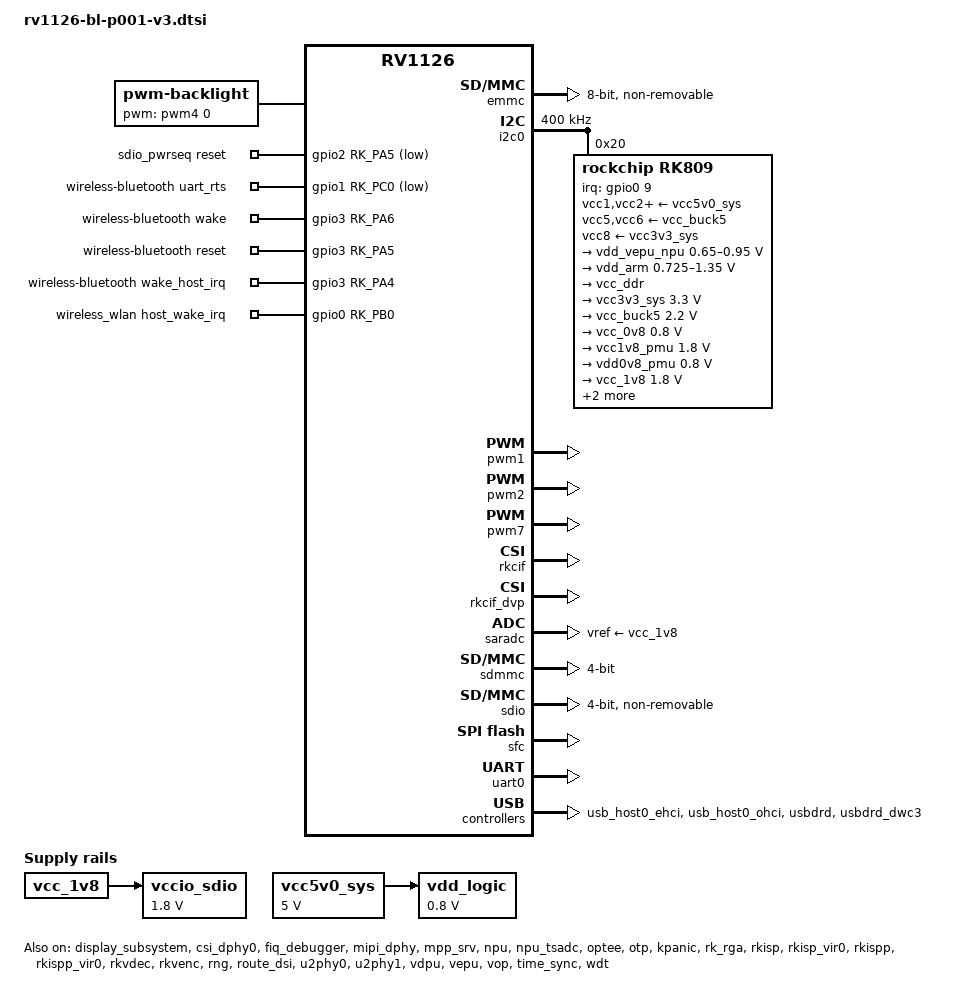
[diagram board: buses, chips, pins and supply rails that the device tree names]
// SPDX-License-Identifier: (GPL-2.0+ OR MIT)
/*
 * Copyright (c) 2019 Fuzhou Rockchip Electronics Co., Ltd.
 */

#include <dt-bindings/display/drm_mipi_dsi.h>
#include <dt-bindings/input/input.h>

/ {
	backlight: backlight {
		compatible = "pwm-backlight";
		pwms = <&pwm4 0 25000 0>;
		brightness-levels = <
			  0   1   2   3   4   5   6   7
			  8   9  10  11  12  13  14  15
			 16  17  18  19  20  21  22  23
			 24  25  26  27  28  29  30  31
			 32  33  34  35  36  37  38  39
			 40  41  42  43  44  45  46  47
			 48  49  50  51  52  53  54  55
			 56  57  58  59  60  61  62  63
			 64  65  66  67  68  69  70  71
			 72  73  74  75  76  77  78  79
			 80  81  82  83  84  85  86  87
			 88  89  90  91  92  93  94  95
			 96  97  98  99 100 101 102 103
			104 105 106 107 108 109 110 111
			112 113 114 115 116 117 118 119
			120 121 122 123 124 125 126 127
			128 129 130 131 132 133 134 135
			136 137 138 139 140 141 142 143
			144 145 146 147 148 149 150 151
			152 153 154 155 156 157 158 159
			160 161 162 163 164 165 166 167
			168 169 170 171 172 173 174 175
			176 177 178 179 180 181 182 183
			184 185 186 187 188 189 190 191
			192 193 194 195 196 197 198 199
			200 201 202 203 204 205 206 207
			208 209 210 211 212 213 214 215
			216 217 218 219 220 221 222 223
			224 225 226 227 228 229 230 231
			232 233 234 235 236 237 238 239
			240 241 242 243 244 245 246 247
			248 249 250 251 252 253 254 255>;
		default-brightness-level = <200>;
	};

	dummy_codec: dummy-codec {
		compatible = "rockchip,dummy-codec";
		#sound-dai-cells = <0>;
	};

	sdio_pwrseq: sdio-pwrseq {
		compatible = "mmc-pwrseq-simple";
		pinctrl-names = "default";
		pinctrl-0 = <&wifi_enable_h>;

		reset-gpios = <&gpio2 RK_PA5 GPIO_ACTIVE_LOW>;
	};

	vcc5v0_sys: vccsys {
		compatible = "regulator-fixed";
		regulator-name = "vcc5v0_sys";
		regulator-always-on;
		regulator-boot-on;
		regulator-min-microvolt = <5000000>;
		regulator-max-microvolt = <5000000>;
	};

	vccio_sdio: vcc-1v8 {
		compatible = "regulator-fixed";
		regulator-name = "vccio_sdio";
		regulator-always-on;
		regulator-boot-on;
		regulator-min-microvolt = <1800000>;
		regulator-max-microvolt = <1800000>;
		vin-supply = <&vcc_1v8>;
	};

	vdd_logic: vdd_logic {
		compatible = "regulator-fixed";
		regulator-name = "vdd_logic";
		regulator-always-on;
		regulator-boot-on;
		regulator-min-microvolt = <800000>;
		regulator-max-microvolt = <800000>;
		vin-supply = <&vcc5v0_sys>;
	};

	wireless-bluetooth {
		compatible = "bluetooth-platdata";
		uart_rts_gpios = <&gpio1 RK_PC0 GPIO_ACTIVE_LOW>;
		pinctrl-names = "default", "rts_gpio";
		pinctrl-0 = <&uart0_rtsn>;
		pinctrl-1 = <&uart0_rtsn_gpio>;
		BT,wake_gpio    = <&gpio3 RK_PA6 GPIO_ACTIVE_HIGH>;
		BT,reset_gpio    = <&gpio3 RK_PA5 GPIO_ACTIVE_HIGH>;
		BT,wake_host_irq = <&gpio3 RK_PA4 GPIO_ACTIVE_HIGH>;
		status = "okay";
	};

	wireless_wlan: wireless-wlan {
		compatible = "wlan-platdata";
		rockchip,grf = <&grf>;
		pinctrl-names = "default";
		pinctrl-0 = <&wifi_wake_host>;
		wifi_chip_type = "ap6212a";
		WIFI,host_wake_irq = <&gpio0 RK_PB0 GPIO_ACTIVE_HIGH>;
		clocks = <&rk809 1>;
		clock-names = "clk_wifi";
		status = "okay";
	};
};

&cpu0 {
    cpu-supply = <&vdd_arm>;
};

&cpu_tsadc {
	status = "okay";
};

&display_subsystem {
	status = "okay";
};

&csi_dphy0 {
	status = "okay";

	ports {
		#address-cells = <1>;
		#size-cells = <0>;
		port@0 {
			reg = <0>;
			#address-cells = <1>;
			#size-cells = <0>;

			mipi_in_ucam0: endpoint@1 {
				reg = <1>;
				remote-endpoint = <&ucam_out0>;
				data-lanes = <1 2>;
			};
		};
		port@1 {
			reg = <1>;
			#address-cells = <1>;
			#size-cells = <0>;

			csidphy0_out: endpoint@0 {
				reg = <0>;
				remote-endpoint = <&isp_in>;
			};
		};
	};
};

&emmc {
	bus-width = <8>;
	cap-mmc-highspeed;
	non-removable;
	mmc-hs200-1_8v;
	rockchip,default-sample-phase = <90>;
	supports-emmc;
	/delete-property/ pinctrl-names;
	/delete-property/ pinctrl-0;
	status = "okay";
};

&fiq_debugger {
	status = "okay";
};

&i2c0 {
	status = "okay";
	clock-frequency = <400000>;

	rk809: pmic@20 {
		compatible = "rockchip,rk809";
		reg = <0x20>;
		interrupt-parent = <&gpio0>;
		interrupts = <9 IRQ_TYPE_LEVEL_LOW>;
		pinctrl-names = "default", "pmic-sleep",
			"pmic-power-off", "pmic-reset";
		pinctrl-0 = <&pmic_int>;
		pinctrl-1 = <&soc_slppin_gpio>, <&rk817_slppin_slp>;
		pinctrl-2 = <&soc_slppin_gpio>, <&rk817_slppin_pwrdn>;
		pinctrl-3 = <&soc_slppin_slp>, <&rk817_slppin_rst>;
		rockchip,system-power-controller;
		wakeup-source;
		#clock-cells = <1>;
		clock-output-names = "rk808-clkout1", "rk808-clkout2";
		/* 0: rst the pmic, 1: rst regs (default in codes) */
		pmic-reset-func = <0>;

		vcc1-supply = <&vcc5v0_sys>;
		vcc2-supply = <&vcc5v0_sys>;
		vcc3-supply = <&vcc5v0_sys>;
		vcc4-supply = <&vcc5v0_sys>;
		vcc5-supply = <&vcc_buck5>;
		vcc6-supply = <&vcc_buck5>;
		vcc7-supply = <&vcc5v0_sys>;
		vcc8-supply = <&vcc3v3_sys>;
		vcc9-supply = <&vcc5v0_sys>;

		pinctrl_rk8xx: pinctrl_rk8xx {
			gpio-controller;
			#gpio-cells = <2>;

			/omit-if-no-ref/
			rk817_slppin_null: rk817_slppin_null {
				pins = "gpio_slp";
				function = "pin_fun0";
			};

			/omit-if-no-ref/
			rk817_slppin_slp: rk817_slppin_slp {
				pins = "gpio_slp";
				function = "pin_fun1";
			};

			/omit-if-no-ref/
			rk817_slppin_pwrdn: rk817_slppin_pwrdn {
				pins = "gpio_slp";
				function = "pin_fun2";
			};

			/omit-if-no-ref/
			rk817_slppin_rst: rk817_slppin_rst {
				pins = "gpio_slp";
				function = "pin_fun3";
			};
		};

		regulators {
			vdd_vepu_npu: DCDC_REG1 {
				regulator-always-on;
				regulator-boot-on;
				regulator-min-microvolt = <650000>;
				regulator-max-microvolt = <950000>;
				regulator-init-microvolt = <800000>;
				regulator-initial-mode = <0x2>;
				regulator-name = "vdd_vepu_npu";
				regulator-state-mem {
					regulator-off-in-suspend;
				};
			};

			vdd_arm: DCDC_REG2 {
				regulator-always-on;
				regulator-boot-on;
				regulator-min-microvolt = <725000>;
				regulator-max-microvolt = <1350000>;
				regulator-ramp-delay = <6001>;
				regulator-initial-mode = <0x2>;
				regulator-name = "vdd_arm";
				regulator-state-mem {
					regulator-off-in-suspend;
				};
			};

			vcc_ddr: DCDC_REG3 {
				regulator-always-on;
				regulator-boot-on;
				regulator-initial-mode = <0x2>;
				regulator-name = "vcc_ddr";
				regulator-state-mem {
					regulator-on-in-suspend;
				};
			};

			vcc3v3_sys: DCDC_REG4 {
				regulator-always-on;
				regulator-boot-on;
				regulator-min-microvolt = <3300000>;
				regulator-max-microvolt = <3300000>;
				regulator-initial-mode = <0x2>;
				regulator-name = "vcc3v3_sys";
				regulator-state-mem {
					regulator-on-in-suspend;
					regulator-suspend-microvolt = <3300000>;
				};
			};

			vcc_buck5: DCDC_REG5 {
				regulator-always-on;
				regulator-boot-on;
				regulator-min-microvolt = <2200000>;
				regulator-max-microvolt = <2200000>;
				regulator-name = "vcc_buck5";
				regulator-state-mem {
					regulator-on-in-suspend;
					regulator-suspend-microvolt = <2200000>;
				};
			};

			vcc_0v8: LDO_REG1 {
				regulator-always-on;
				regulator-boot-on;
				regulator-min-microvolt = <800000>;
				regulator-max-microvolt = <800000>;
				regulator-name = "vcc_0v8";
				regulator-state-mem {
					regulator-off-in-suspend;
				};
			};

			vcc1v8_pmu: LDO_REG2 {
				regulator-always-on;
				regulator-boot-on;
				regulator-min-microvolt = <1800000>;
				regulator-max-microvolt = <1800000>;
				regulator-name = "vcc1v8_pmu";
				regulator-state-mem {
					regulator-on-in-suspend;
					regulator-suspend-microvolt = <1800000>;
				};
			};

			vdd0v8_pmu: LDO_REG3 {
				regulator-always-on;
				regulator-boot-on;
				regulator-min-microvolt = <800000>;
				regulator-max-microvolt = <800000>;
				regulator-name = "vcc0v8_pmu";
				regulator-state-mem {
					regulator-on-in-suspend;
					regulator-suspend-microvolt = <800000>;
				};
			};

			vcc_1v8: LDO_REG4 {
				regulator-always-on;
				regulator-boot-on;
				regulator-min-microvolt = <1800000>;
				regulator-max-microvolt = <1800000>;
				regulator-name = "vcc_1v8";
				regulator-state-mem {
					regulator-on-in-suspend;
					regulator-suspend-microvolt = <1800000>;
				};
			};

			vcc_dovdd: LDO_REG5 {
				regulator-always-on;
				regulator-boot-on;
				regulator-min-microvolt = <1800000>;
				regulator-max-microvolt = <1800000>;
				regulator-name = "vcc_dovdd";
				regulator-state-mem {
					regulator-on-in-suspend;
					regulator-suspend-microvolt = <1800000>;
				};
			};

			vcc_dvdd: LDO_REG6 {
				regulator-always-on;
				regulator-boot-on;
				regulator-min-microvolt = <1200000>;
				regulator-max-microvolt = <1200000>;
				regulator-name = "vcc_dvdd";
				regulator-state-mem {
					regulator-on-in-suspend;
					regulator-suspend-microvolt = <1200000>;
				};
			};

			vcc_avdd: LDO_REG7 {
				regulator-always-on;
				regulator-boot-on;
				regulator-min-microvolt = <2800000>;
				regulator-max-microvolt = <2800000>;
				regulator-name = "vcc_avdd";
				regulator-state-mem {
					regulator-on-in-suspend;
					regulator-suspend-microvolt = <2800000>;
				};
			};

			vccio_sd: LDO_REG8 {
				regulator-always-on;
				regulator-boot-on;
				regulator-min-microvolt = <1800000>;
				regulator-max-microvolt = <3300000>;
				regulator-name = "vccio_sd";
				regulator-state-mem {
					regulator-off-in-suspend;
				};
			};

			vcc3v3_sd: LDO_REG9 {
				regulator-always-on;
				regulator-boot-on;
				regulator-min-microvolt = <3300000>;
				regulator-max-microvolt = <3300000>;
				regulator-name = "vcc3v3_sd";
				regulator-state-mem {
					regulator-off-in-suspend;
				};
			};

			vcc5v0_host: SWITCH_REG1 {
				regulator-name = "vcc5v0_host";
			};

			vcc_3v3: SWITCH_REG2 {
				regulator-always-on;
				regulator-boot-on;
				regulator-name = "vcc_3v3";
			};
		};
	};
};

&mipi_dphy {
	status = "okay";
};

&mpp_srv {
	status = "okay";
};

&npu {
	npu-supply = <&vdd_vepu_npu>;
	status = "okay";
};

&npu_tsadc {
       status = "okay";
};

&optee {
	status = "okay";
};

&otp {
	status = "okay";
};

&pinctrl {
	pmic {
		/omit-if-no-ref/
		pmic_int: pmic_int {
			rockchip,pins =
				<0 RK_PB1 RK_FUNC_GPIO &pcfg_pull_up>;
		};

		/omit-if-no-ref/
		soc_slppin_gpio: soc_slppin_gpio {
			rockchip,pins =
				<0 RK_PB2 RK_FUNC_GPIO &pcfg_output_low>;
		};

		/omit-if-no-ref/
		soc_slppin_slp: soc_slppin_slp {
			rockchip,pins =
				<0 RK_PB2 RK_FUNC_1 &pcfg_pull_none>;
		};

		/omit-if-no-ref/
		soc_slppin_rst: soc_slppin_rst {
			rockchip,pins =
				<0 RK_PB2 RK_FUNC_2 &pcfg_pull_none>;
		};
	};

	sdio-pwrseq {
		/omit-if-no-ref/
		wifi_enable_h: wifi-enable-h {
			rockchip,pins = <2 RK_PA5 RK_FUNC_GPIO &pcfg_pull_none>;
		};
	};

	wireless-wlan {
		/omit-if-no-ref/
		wifi_wake_host: wifi-wake-host {
			rockchip,pins = <0 RK_PB0 0 &pcfg_pull_up>;
		};
	};
};

&pmu_io_domains {
	status = "okay";

	pmuio0-supply = <&vcc3v3_sys>;
	pmuio1-supply = <&vcc3v3_sys>;
	vccio1-supply = <&vcc_1v8>;
	vccio2-supply = <&vccio_sd>;
	vccio3-supply = <&vcc_1v8>;
	vccio4-supply = <&vcc_1v8>;
	vccio5-supply = <&vcc3v3_sys>;
    vccio1-supply = <&vccio_sdio>;
};

&pwm0 {
	status = "disabled";
};

&pwm1 {
	status = "okay";
	pinctrl-names = "active";
	pinctrl-0 = <&pwm1m0_pins_pull_down>;
};

&pwm2 {
	status = "okay";
	pinctrl-names = "active";
	pinctrl-0 = <&pwm2m0_pins_pull_down>;
};

&pwm7 {
	status = "okay";
	pinctrl-names = "active";
	pinctrl-0 = <&pwm7m0_pins_pull_down>;
};

&ramoops {
	status = "okay";
};

&kpanic {
	status = "okay";
};

/*
&iotrace {
	status = "okay";
};
*/

&rk_rga {
	status = "okay";
};

&rkcif {
	status = "okay";
};

&rkcif_dvp {
	status = "okay";
};

&rkisp {
	status = "okay";
};

&rkisp_vir0 {
	status = "okay";

	ports {
		port@0 {
			reg = <0>;
			#address-cells = <1>;
			#size-cells = <0>;

			isp_in: endpoint@0 {
				reg = <0>;
				remote-endpoint = <&csidphy0_out>;
			};
		};
	};
};

&rkisp_mmu {
	status = "disabled";
};

&rkispp {
	status = "okay";
};

&isp_reserved {
    size = <0x1800000>;
};

&rkispp_vir0 {
	status = "okay";
};

&rkispp_mmu {
	status = "okay";
};

&rkvdec {
	status = "okay";
};

&rkvdec_mmu {
	status = "okay";
};

&rkvenc {
	venc-supply = <&vdd_vepu_npu>;
	status = "okay";
};

&rkvenc_mmu {
	status = "okay";
};

&rng {
	status = "okay";
};

&rockchip_suspend {
	status = "disable";
	rockchip,sleep-debug-en = <1>;
	rockchip,sleep-mode-config = <
		(0
		| RKPM_SLP_ARMOFF
		| RKPM_SLP_PMU_PMUALIVE_32K
		| RKPM_SLP_PMU_DIS_OSC
		| RKPM_SLP_PMIC_LP
		)
	>;
	rockchip,wakeup-config = <
		(0
		| RKPM_GPIO_WKUP_EN
		)
	>;
};

&route_dsi {
	status = "okay";
};

&saradc {
	status = "okay";
	vref-supply = <&vcc_1v8>;
};

&sdmmc {
	bus-width = <4>;
	cap-mmc-highspeed;
	cap-sd-highspeed;
	card-detect-delay = <200>;
	rockchip,default-sample-phase = <90>;
	supports-sd;
	sd-uhs-sdr12;
	sd-uhs-sdr25;
	sd-uhs-sdr104;
	vqmmc-supply = <&vccio_sd>;
	status = "okay";
};

&sdio {
	max-frequency = <100000000>;
	bus-width = <4>;
	cap-sd-highspeed;
	cap-sdio-irq;
	keep-power-in-suspend;
	non-removable;
	rockchip,default-sample-phase = <90>;
	sd-uhs-sdr104;
	supports-sdio;
	mmc-pwrseq = <&sdio_pwrseq>;
	status = "okay";
};

&sfc {
	/delete-property/ pinctrl-names;
	/delete-property/ pinctrl-0;
	status = "okay";
};

&u2phy0 {
	status = "okay";
	vup-gpios = <&gpio0 RK_PC1 GPIO_ACTIVE_LOW>;
	u2phy_otg: otg-port {
		status = "okay";
	};
};

&u2phy1 {
	status = "okay";
	u2phy_host: host-port {
		status = "okay";
		phy-supply = <&vcc5v0_host>;
	};
};

&uart0 {
	pinctrl-names = "default";
	pinctrl-0 = <&uart0_xfer &uart0_ctsn>;
	status = "okay";
};

&usb_host0_ehci {
	status = "okay";
};

&usb_host0_ohci {
	status = "okay";
};

&usbdrd {
	status = "okay";
};

&usbdrd_dwc3 {
	status = "okay";
	extcon = <&u2phy0>;
};

&vdpu {
	status = "okay";
};

&vepu {
	status = "okay";
};

&vpu_mmu {
	status = "okay";
};

&vop {
	status = "okay";
};

&vop_mmu {
	status = "okay";
};

&time_sync {
	time_sync_gpio = <&gpio2 RK_PB3 GPIO_ACTIVE_HIGH>;
	status = "okay";
};

&wdt {
	status = "okay";
};
